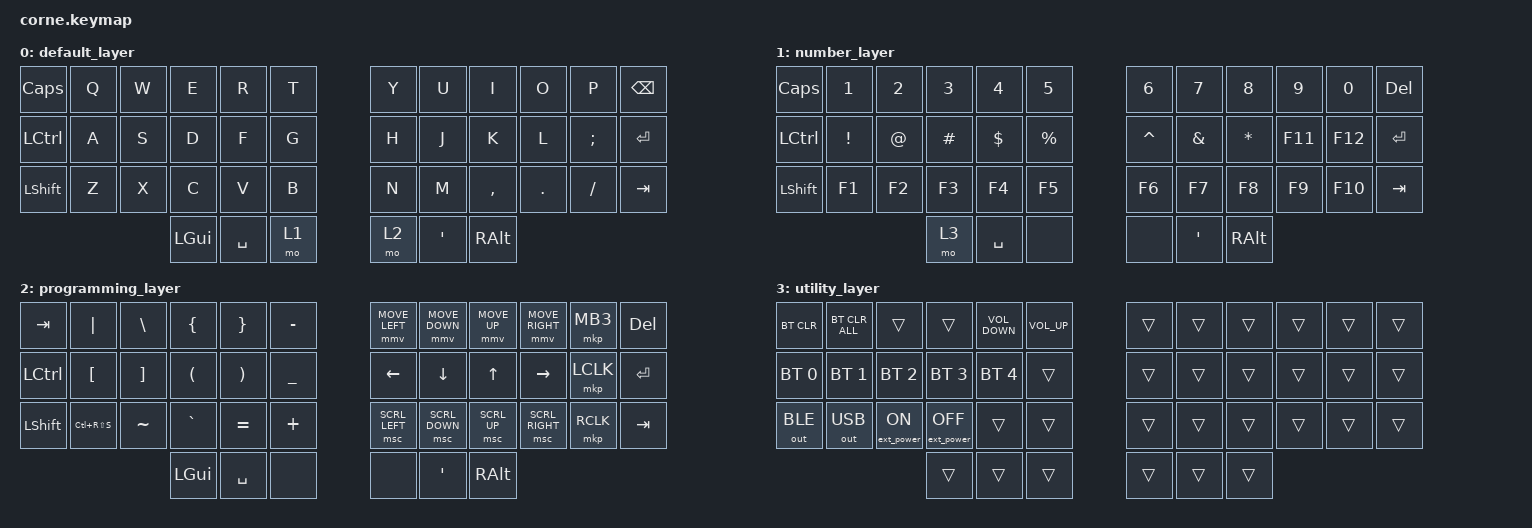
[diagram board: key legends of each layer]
/*
 * Copyright (c) 2020 The ZMK Contributors
 *
 * SPDX-License-Identifier: MIT
 */

#include <behaviors.dtsi>
#include <dt-bindings/zmk/bt.h>
#include <dt-bindings/zmk/ext_power.h>
#include <dt-bindings/zmk/keys.h>
#include <dt-bindings/zmk/outputs.h>
#include <dt-bindings/zmk/pointing.h>

/ {
    keymap {
        compatible = "zmk,keymap";

        default_layer {
            // -----------------------------------------------------------------------------------------
            // |  TAB |  Q  |  W  |  E  |  R  |  T  |   |  Y  |  U   |  I  |  O  |  P  | BSPC |
            // | CTRL |  A  |  S  |  D  |  F  |  G  |   |  H  |  J   |  K  |  L  |  ;  |  '   |
            // | SHFT |  Z  |  X  |  C  |  V  |  B  |   |  N  |  M   |  ,  |  .  |  /  | ESC  |
            //                    | GUI | LWR | SPC |   | ENT | RSE  | ALT |

            bindings = <
&kp CAPSLOCK  &kp Q  &kp W  &kp E     &kp R      &kp T    &kp Y  &kp U    &kp I      &kp O    &kp P     &kp BSPC
&kp LCTRL     &kp A  &kp S  &kp D     &kp F      &kp G    &kp H  &kp J    &kp K      &kp L    &kp SEMI  &kp ENTER
&kp LSHFT     &kp Z  &kp X  &kp C     &kp V      &kp B    &kp N  &kp M    &kp COMMA  &kp DOT  &kp FSLH  &kp TAB
                            &kp LGUI  &kp SPACE  &mo 1    &mo 2  &kp SQT  &kp RALT
            >;
        };

        number_layer {
            // -----------------------------------------------------------------------------------------
            // |  TAB |  1  |  2  |  3  |  4  |  5  |   |  6  |  7  |  8  |  9  |  0  | BSPC |
            // | BTCLR| BT1 | BT2 | BT3 | BT4 | BT5 |   | LFT | DWN |  UP | RGT |     |      |
            // | SHFT |     |     |     |     |     |   |     |     |     |     |     |      |
            //                    | GUI |     | SPC |   | ENT |     | ALT |

            bindings = <
&kp CLCK          &kp N1    &kp N2  &kp N3     &kp N4     &kp N5       &kp N6     &kp N7    &kp N8    &kp N9   &kp N0   &kp DEL
&kp LEFT_CONTROL  &kp EXCL  &kp AT  &kp POUND  &kp DLLR   &kp PRCNT    &kp CARET  &kp AMPS  &kp STAR  &kp F11  &kp F12  &kp ENTER
&kp LSHFT         &kp F1    &kp F2  &kp F3     &kp F4     &kp F5       &kp F6     &kp F7    &kp F8    &kp F9   &kp F10  &kp TAB
                                    &mo 3      &kp SPACE  &none        &none      &kp SQT   &kp RALT
            >;
        };

        programming_layer {
            // -----------------------------------------------------------------------------------------
            // |  TAB |  !  |  @  |  #  |  $  |  %  |   |  ^  |  &  |  *  |  (  |  )  | BSPC |
            // | CTRL |     |     |     |     |     |   |  -  |  =  |  [  |  ]  |  \  |  `   |
            // | SHFT |     |     |     |     |     |   |  _  |  +  |  {  |  }  | "|" |  ~   |
            //                    | GUI |     | SPC |   | ENT |     | ALT |

            bindings = <
&kp TAB    &kp PIPE       &kp BACKSLASH  &kp LEFT_BRACE        &kp RIGHT_BRACE        &kp MINUS         &mmv MOVE_LEFT  &mmv MOVE_DOWN  &mmv MOVE_UP  &mmv MOVE_RIGHT  &mkp MB3   &kp DEL
&kp LCTRL  &kp LBKT       &kp RBKT       &kp LEFT_PARENTHESIS  &kp RIGHT_PARENTHESIS  &kp UNDERSCORE    &kp LEFT        &kp DOWN        &kp UP        &kp RIGHT        &mkp LCLK  &kp ENTER
&kp LSHFT  &kp LC(RS(S))  &kp TILDE      &kp GRAVE             &kp EQUAL              &kp PLUS          &msc SCRL_LEFT  &msc SCRL_DOWN  &msc SCRL_UP  &msc SCRL_RIGHT  &mkp RCLK  &kp TAB
                                         &kp LGUI              &kp SPACE              &none             &none           &kp SQT         &kp RALT
            >;
        };

        utility_layer {
            bindings = <
&bt BT_CLR    &bt BT_CLR_ALL  &trans            &trans             &kp K_VOLUME_DOWN  &kp K_VOLUME_UP    &trans  &trans  &trans  &trans  &trans  &trans
&bt BT_SEL 0  &bt BT_SEL 1    &bt BT_SEL 2      &bt BT_SEL 3       &bt BT_SEL 4       &trans             &trans  &trans  &trans  &trans  &trans  &trans
&out OUT_BLE  &out OUT_USB    &ext_power EP_ON  &ext_power EP_OFF  &trans             &trans             &trans  &trans  &trans  &trans  &trans  &trans
                                                &trans             &trans             &trans             &trans  &trans  &trans
            >;
        };
    };
};
